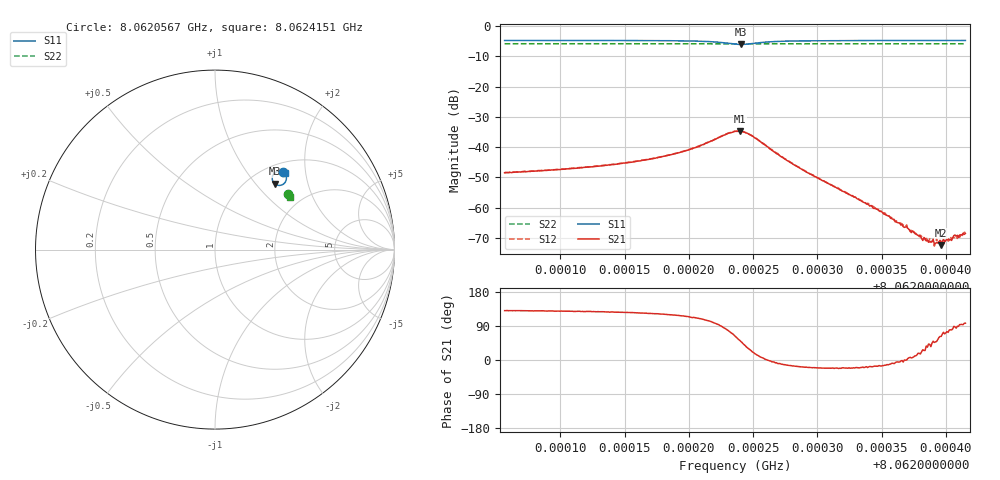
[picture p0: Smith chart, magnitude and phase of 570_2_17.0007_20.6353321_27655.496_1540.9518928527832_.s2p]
#  HZ  S  RI  R  50.00
! Rohde & Schwarz Vector Network Analyzer
! Rohde-Schwarz,ZNB20-2Port,1311601062101988,3.16
! Created: UTC 3/20/2024, 11:17:41 PM
! freq[Hz]  re:S11  im:S11  re:S21  im:S21  re:S12  im:S12  re:S22  im:S22
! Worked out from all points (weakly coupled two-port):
!   401 points, 8.0620567 GHz to 8.0624151 GHz, reference 50 ohm
!   highest |S21| = -34.75 dB at 8.0622395 GHz (marker M1); lowest = -72.3 dB at 8.0623963 GHz (marker M2)
!   lowest |S11| = -6.1 dB at 8.0622404 GHz (marker M3), VSWR 2.96, Z = 65 + j63.3 ohm
!   |S11| at or under -10 dB: nowhere
!   |S22| runs from -5.9 to -5.9 dB; largest |S21 - S12| = 0.0012
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8.06205672e9  0.3808 0.4321  -0.00243 0.00287  -0.00229 0.00307  0.4045 0.3082
8.06211674e9  0.3864 0.4262  -0.00279 0.00358  -0.00261 0.0038  0.4067 0.3052
8.06214631e9  0.3899 0.4218  -0.00312 0.00429  -0.00288 0.00453  0.4078 0.3034
8.06217677e9  0.3941 0.4142  -0.00352 0.00574  -0.00327 0.00601  0.4089 0.3016
8.06220634e9  0.3978 0.3964  -0.00354 0.00933  -0.00306 0.00962  0.4098 0.2995
8.0622359e9  0.3505 0.3584  0.00823 0.0162  0.00912 0.0158  0.4081 0.2968
8.06223949e9  0.3359 0.3646  0.0113 0.0144  0.0122 0.0138  0.4077 0.2972
8.06224038e9  0.3324 0.3671  0.012 0.0138  0.0128 0.0131  0.4076 0.2974
8.06224934e9  0.3188 0.4016  0.0141 0.00553  0.0146 0.00493  0.4077 0.2986
8.06227264e9  0.3496 0.4359  0.00667 -0.00134  0.00662 -0.00176  0.4105 0.2987
8.06229593e9  0.3663 0.4362  0.00322 -0.0012  0.0032 -0.00142  0.4119 0.2973
8.06234073e9  0.3791 0.4314  0.00101 -0.000313  0.00103 -0.000422  0.4138 0.2949
8.06235596e9  0.3816 0.4299  0.000705 -0.000141  0.000691 -0.000183  0.4146 0.2939
8.06236761e9  0.3831 0.4289  0.000471 1.07e-06  0.000499 -8.68e-05  0.4149 0.2933
8.06237209e9  0.3837 0.4285  0.000414 5.17e-05  0.000403 1.34e-05  0.415 0.2931
8.06238284e9  0.385 0.4276  0.00029 0.000136  0.000298 0.000117  0.4155 0.2925
8.06239001e9  0.3859 0.4271  0.000194 0.000227  0.000226 0.000185  0.4158 0.2921
8.0623927e9  0.3863 0.427  0.000174 0.000199  0.000211 0.000227  0.4159 0.2919
8.06239449e9  0.3863 0.4269  0.000139 0.000233  0.000157 0.000209  0.416 0.2918
8.06239628e9  0.3866 0.4267  0.000113 0.000215  0.000134 0.000241  0.4158 0.2918
8.06241062e9  0.388 0.4256  -2.24e-05 0.000351  -1.62e-05 0.000323  0.4164 0.291
8.0624151e9  0.3884 0.4255  -4.62e-05 0.000371  -2e-05 0.000395  0.4167 0.2907
